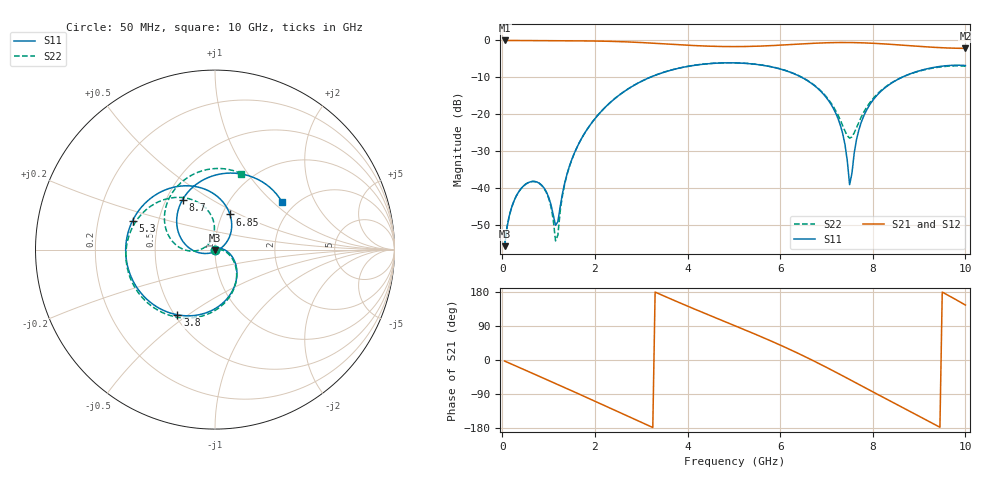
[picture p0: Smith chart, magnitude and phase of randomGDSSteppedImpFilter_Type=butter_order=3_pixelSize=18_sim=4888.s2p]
! freq	dB(S11)	phase(S11)	dB(S12)	phase(S12)
!  dB(S21)	phase(S21)	dB(S22)	phase(S22)
!S-par simulation data
#  GHz  S  DB  R 50
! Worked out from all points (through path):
!   200 points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, 50 MHz to 10 GHz, reference 50 ohm
!   highest |S21| = 0.00 dB at 50 MHz (marker M1); lowest = -2.1 dB at 10 GHz (marker M2)
!   group delay of S21, straight-line fit = 157 ps
!   lowest |S11| = -55.7 dB at 50 MHz (marker M3), VSWR 1.00, Z = 50 - j0.162 ohm
!   |S11| at or under -10 dB: start of sweep to 3.189 GHz; 6.467 GHz to 8.626 GHz (2.159 GHz wide, 28.6 % of centre)
!   |S22| runs from -55.7 to -6.0 dB; largest |S21 - S12| = 0
!   S11 on the Smith chart (normalised r, x): 50 MHz: 1.00, -0.00; 3.8 GHz: 0.52, -0.46; 5.3 GHz: 0.35, +0.15; 6.85 GHz: 1.09, +0.45; 8.7 GHz: 0.60, +0.38; 10 GHz: 1.71, +1.14
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0.05  -55.68 -79.4  -0.00 -2.7  -0.00 -2.7  -55.67 -78.5
0.25  -43.52 -101.3  -0.02 -13.6  -0.02 -13.6  -43.50 -99.0
0.65  -38.16 -129.8  -0.05 -35.1  -0.05 -35.1  -38.16 -121.9
1  -42.37 -162.4  -0.06 -54.0  -0.06 -54.0  -42.68 -134.4
1.15  -50.03 137.6  -0.07 -62.1  -0.07 -62.1  -54.24 -95.9
1.4  -36.06 27.7  -0.09 -75.7  -0.09 -75.7  -36.23 6.2
1.75  -25.69 -0.5  -0.12 -94.9  -0.12 -94.9  -25.70 -8.1
2.65  -13.67 -55.1  -0.37 -145.0  -0.37 -145.0  -13.65 -55.2
3.4  -8.98 -98.0  -0.85 173.8  -0.85 173.8  -8.96 -94.8
3.8  -7.54 -120.0  -1.15 152.5  -1.15 152.5  -7.52 -115.1
5.05  -6.09 174.1  -1.66 89.1  -1.66 89.1  -6.06 -174.9
5.3  -6.25 160.7  -1.63 76.4  -1.63 76.4  -6.22 173.4
6  -7.72 121.4  -1.28 39.5  -1.28 39.5  -7.69 139.9
6.7  -11.84 77.3  -0.78 -0.9  -0.78 -0.9  -11.75 106.1
6.85  -13.43 67.0  -0.70 -10.1  -0.70 -10.1  -13.30 99.6
7.3  -22.93 30.8  -0.56 -38.5  -0.56 -38.5  -21.57 95.3
7.5  -39.04 -41.2  -0.56 -51.4  -0.56 -51.4  -26.45 135.4
7.8  -20.59 -169.7  -0.65 -70.9  -0.65 -70.9  -19.54 -176.4
8.35  -12.00 147.6  -1.02 -106.6  -1.02 -106.6  -11.90 166.6
8.7  -9.58 122.9  -1.33 -129.1  -1.33 -129.1  -9.60 148.3
9.35  -7.23 78.6  -1.88 -170.9  -1.88 -170.9  -7.36 111.4
10  -6.79 35.2  -2.13 145.0  -2.13 145.0  -6.98 71.0
